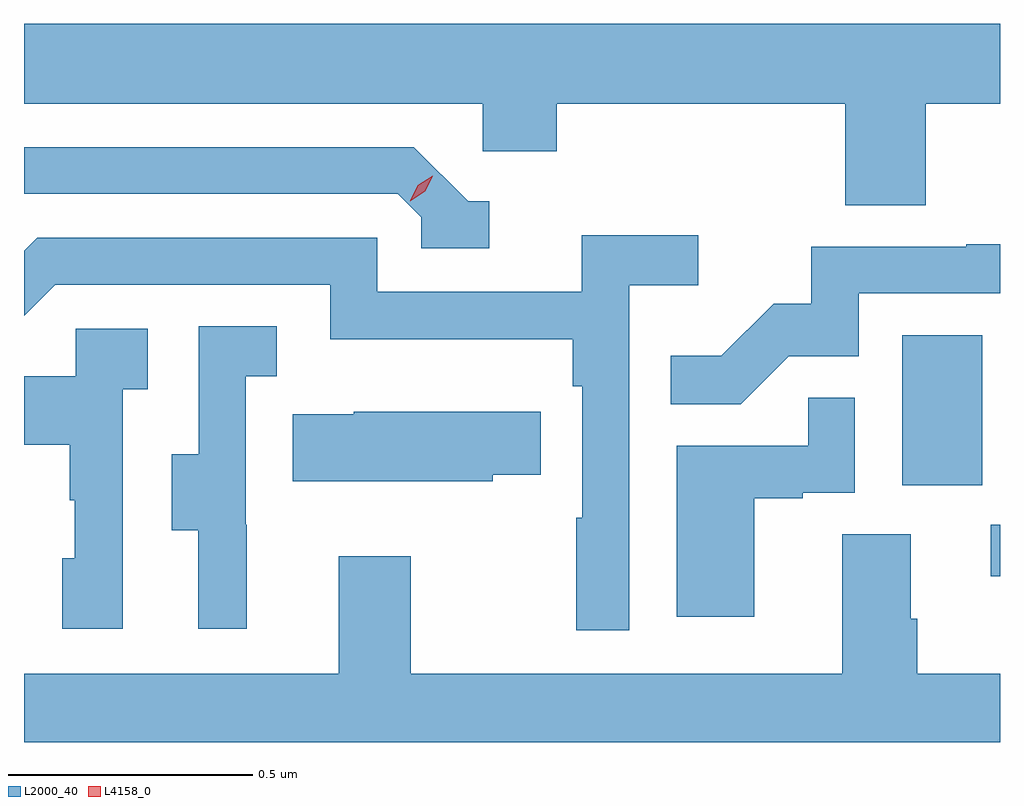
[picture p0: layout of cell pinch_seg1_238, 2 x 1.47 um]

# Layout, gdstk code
import gdstk
lib = gdstk.Library(unit=1e-6, precision=1e-09)
def R(c, l, rs):  # rectangles x0, y0, x1, y1
    for r in rs: c.add(gdstk.rectangle(r[:2], r[2:], *l))
def P(c, l, *ps):  # polygons
    for p in ps: c.add(gdstk.Polygon(p, *l))
L2000_40 = (2000, 40)
L4158_0 = (4158, 0)

pinch_seg1_238 = lib.new_cell('pinch_seg1_238')
R(pinch_seg1_238, L2000_40, [(962.745,566.748,962.764,566.853), (962.564,566.934,962.728,567.241)])
P(pinch_seg1_238, L2000_40, [(962.612,567.716),(962.764,567.716),(962.764,567.88),(960.764,567.88),(960.764,567.716),(961.704,567.716),(961.704,567.618),(961.856,567.618),(961.856,567.716),(962.447,567.716),(962.447,567.508),(962.612,567.508)],
  [(961.717,567.516),(961.674,567.516),(961.563,567.627),(960.764,567.627),(960.764,567.531),(961.53,567.531),(961.578,567.483),(961.578,567.42),(961.717,567.42)],
  [(962.004,567.344),(962.146,567.344),(962.146,567.446),(961.907,567.446),(961.907,567.33),(961.488,567.33),(961.488,567.441),(960.791,567.441),(960.764,567.414),(960.764,567.281),(960.828,567.345),(961.392,567.345),(961.392,567.233),(961.888,567.233),(961.888,567.137),(961.908,567.137),(961.908,566.867),(961.896,566.867),(961.896,566.637),(962.004,566.637)],
  [(962.331,567.198),(962.475,567.198),(962.475,567.327),(962.764,567.327),(962.764,567.428),(962.695,567.428),(962.695,567.423),(962.377,567.423),(962.377,567.306),(962.3,567.306),(962.193,567.199),(962.089,567.199),(962.089,567.1),(962.233,567.1)],
  [(961.22,566.853),(961.218,566.853),(961.218,567.157),(961.282,567.157),(961.282,567.26),(961.122,567.26),(961.122,566.997),(961.067,566.997),(961.067,566.842),(961.121,566.842),(961.121,566.64),(961.22,566.64)],
  [(960.966,567.131),(961.018,567.131),(961.018,567.255),(960.87,567.255),(960.87,567.157),(960.764,567.157),(960.764,567.017),(960.858,567.017),(960.858,566.903),(960.868,566.903),(960.868,566.784),(960.842,566.784),(960.842,566.64),(960.966,566.64)],
  [(962.26,566.907),(962.36,566.907),(962.36,566.919),(962.466,566.919),(962.466,567.113),(962.371,567.113),(962.371,567.015),(962.102,567.015),(962.102,566.664),(962.26,566.664)],
  [(961.725,566.956),(961.823,566.956),(961.823,567.085),(961.44,567.085),(961.44,567.079),(961.315,567.079),(961.315,566.942),(961.725,566.942)],
  [(962.764,566.548),(962.594,566.548),(962.594,566.66),(962.581,566.66),(962.581,566.834),(962.441,566.834),(962.441,566.548),(961.557,566.548),(961.557,566.788),(961.409,566.788),(961.409,566.548),(960.764,566.548),(960.764,566.407),(962.764,566.407)])
P(pinch_seg1_238, L4158_0, [(961.555,567.516),(961.555,567.517),(961.571,567.549),(961.602,567.568),(961.602,567.568),(961.602,567.568),(961.586,567.536),(961.555,567.516)])

lib.write_gds('pinch_seg1_238.gds')
